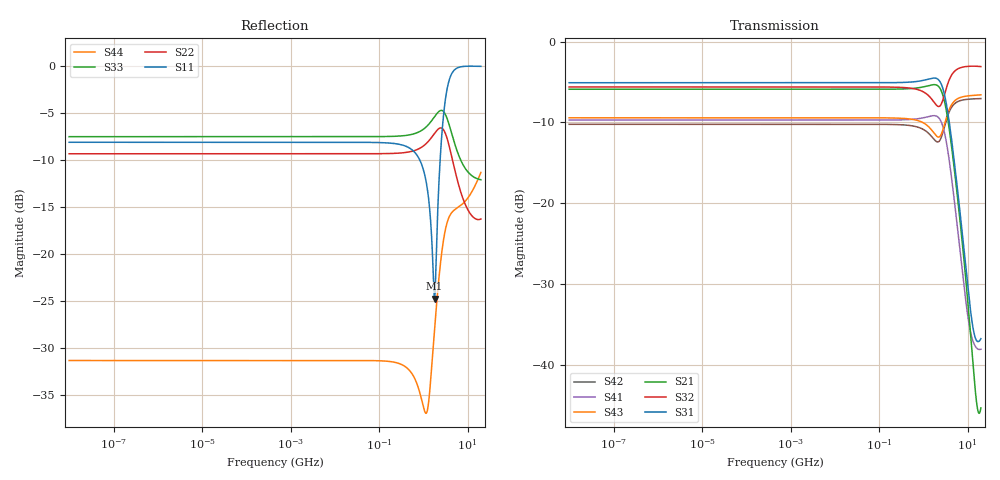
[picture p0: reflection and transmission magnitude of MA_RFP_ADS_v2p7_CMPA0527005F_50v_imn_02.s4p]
! Created Thu Oct 05 12:26:51 2017
! List of port names and net name(s): example Port n = <port_name> <net_name1> <net_name2> ...
! Port 1 = P1 P4
! Port 2 = P2 P4
! Port 3 = P3 P4
! Port 4 = P4 P4
# hz S ma R 50
! 4 Port Network Data from data block
! freq  magS11  angS11  magS12  angS12  magS13  angS13  magS14  angS14
!  magS21  angS21  magS22  angS22  magS23  angS23  magS24  angS24
!  magS31  angS31  magS32  angS32  magS33  angS33  magS34  angS34
!  magS41  angS41  magS42  angS42  magS43  angS43  magS44  angS44
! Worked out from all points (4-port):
!   429 points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, 9.737 Hz to 20 GHz, reference 50 ohm
!   strongest paths, dB at 9.737 Hz, 1.1 GHz, 2.101 GHz, 4.219 GHz, 20 GHz:
!     S31: -5.1, -4.7, -4.6, -11.6, -36.8
!     S32: -5.6, -6.3, -8.0, -4.3, -3.1
!     S21: -5.9, -5.5, -5.4, -12.4, -45.3
!     S43: -9.4, -10.2, -11.8, -7.9, -6.6
!     S41: -9.7, -9.4, -9.3, -16.3, -38.1
!     S42: -10.2, -11.0, -12.4, -8.2, -7.0
!   lowest |S11| = -24.8 dB at 1.797 GHz (marker M1), VSWR 1.12, Z = 54.4 + j4.15 ohm
!   |S11| at or under -10 dB: 823.3 MHz to 2.397 GHz (1.574 GHz wide, 97.7 % of centre)
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9.736996  0.3915 180.0  0.5075 -0.0  0.5569 -0.0  0.3271 -0.0
          0.5075 -0.0  0.34 -180.0  0.5245 -0.0  0.308 -0.0
          0.5569 -0.0  0.5245 -0.0  0.4193 -180.0  0.3379 -0.0
          0.3271 -0.0  0.308 -0.0  0.3379 -0.0  0.02697 0.0
4.166667e8  0.3717 167.9  0.5105 -9.5  0.5602 -9.1  0.3289 -10.5
            0.5105 -9.5  0.346 -178.0  0.5185 -1.9  0.3044 -1.9
            0.5602 -9.1  0.5185 -1.9  0.4261 -178.0  0.3339 -2.6
            0.3289 -10.5  0.3044 -1.9  0.3339 -2.6  0.02473 2.7
1.180556e9  0.2349 140.6  0.5306 -29.2  0.5825 -28.0  0.3414 -31.9
            0.5306 -29.2  0.3868 -177.4  0.4748 -3.9  0.2777 -3.5
            0.5825 -28.0  0.4748 -3.9  0.4746 -177.0  0.3053 -5.7
            0.3414 -31.9  0.2777 -3.5  0.3053 -5.7  0.0142 53.8
1.796875e9  0.05761 41.3  0.5421 -49.2  0.5954 -47.5  0.3483 -53.4
            0.5421 -49.2  0.4367 177.6  0.4178 -0.2  0.2464 1.3
            0.5954 -47.5  0.4178 -0.2  0.5359 178.7  0.2687 -2.7
            0.3483 -53.4  0.2464 1.3  0.2687 -2.7  0.04018 102.6
3.854167e9  0.8411 -118.6  0.2872 -121.2  0.3169 -117.1  0.1836 -131.4
            0.2872 -121.2  0.3721 144.9  0.5811 20.0  0.3688 17.5
            0.3169 -117.1  0.5811 20.0  0.4832 148.0  0.3811 13.5
            0.1836 -131.4  0.3688 17.5  0.3811 13.5  0.1572 58.9
7.083333e9  0.9879 -160.1  0.06869 -158.1  0.07787 -148.6  0.0452 175.5
            0.06869 -158.1  0.2111 145.1  0.6911 7.0  0.4329 0.3
            0.07787 -148.6  0.6911 7.0  0.3127 144.4  0.4527 -5.5
            0.0452 175.5  0.4329 0.3  0.4527 -5.5  0.1809 32.6
2e10  0.9931 160.0  0.005415 158.0  0.01453 -134.7  0.0125 92.2
      0.005415 158.0  0.1529 178.8  0.701 -10.0  0.4443 -29.8
      0.01453 -134.7  0.701 -10.0  0.2474 148.1  0.4687 -45.2
      0.0125 92.2  0.4443 -29.8  0.4687 -45.2  0.2704 9.8
